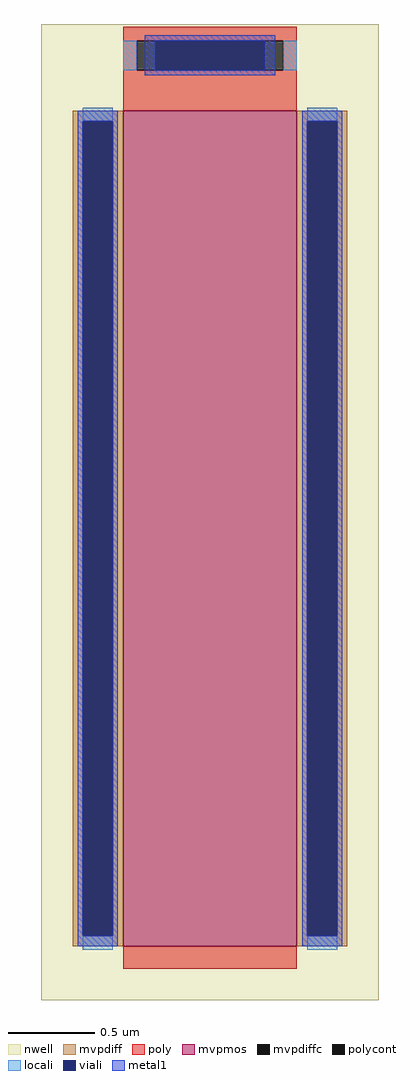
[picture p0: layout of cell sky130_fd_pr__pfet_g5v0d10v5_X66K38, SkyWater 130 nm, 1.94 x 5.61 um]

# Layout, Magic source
magic
tech sky130A
magscale 1 2
<< nwell >>
rect -194 -578 194 544
<< mvpmos >>
rect -100 -516 100 444
<< mvpdiff >>
rect -158 432 -100 444
rect -158 -504 -146 432
rect -112 -504 -100 432
rect -158 -516 -100 -504
rect 100 432 158 444
rect 100 -504 112 432
rect 146 -504 158 432
rect 100 -516 158 -504
<< mvpdiffc >>
rect -146 -504 -112 432
rect 112 -504 146 432
<< poly >>
rect -100 525 100 541
rect -100 491 -84 525
rect 84 491 100 525
rect -100 444 100 491
rect -100 -542 100 -516
<< polycont >>
rect -84 491 84 525
<< locali >>
rect -100 491 -84 525
rect 84 491 100 525
rect -146 432 -112 448
rect -146 -520 -112 -504
rect 112 432 146 448
rect 112 -520 146 -504
<< viali >>
rect -63 491 63 525
rect -146 -504 -112 432
rect 112 -504 146 432
<< metal1 >>
rect -75 525 75 531
rect -75 491 -63 525
rect 63 491 75 525
rect -75 485 75 491
rect -152 432 -106 444
rect -152 -504 -146 432
rect -112 -504 -106 432
rect -152 -516 -106 -504
rect 106 432 152 444
rect 106 -504 112 432
rect 146 -504 152 432
rect 106 -516 152 -504
<< properties >>
string gencell sky130_fd_pr__pfet_g5v0d10v5
string library sky130
string parameters w 4.8 l 1 m 1 nf 1 diffcov 100 polycov 100 guard 0 glc 1 grc 1 gtc 1 gbc 1 tbcov 100 rlcov 100 topc 1 botc 0 poverlap 0 doverlap 1 lmin 0.50 wmin 0.42 compatible {sky130_fd_pr__pfet_01v8  sky130_fd_pr__pfet_01v8_lvt sky130_fd_pr__pfet_01v8_hvt  sky130_fd_pr__pfet_g5v0d10v5} full_metal 1 viasrc 100 viadrn 100 viagate 75 viagb 0 viagr 0 viagl 0 viagt 0
<< end >>
